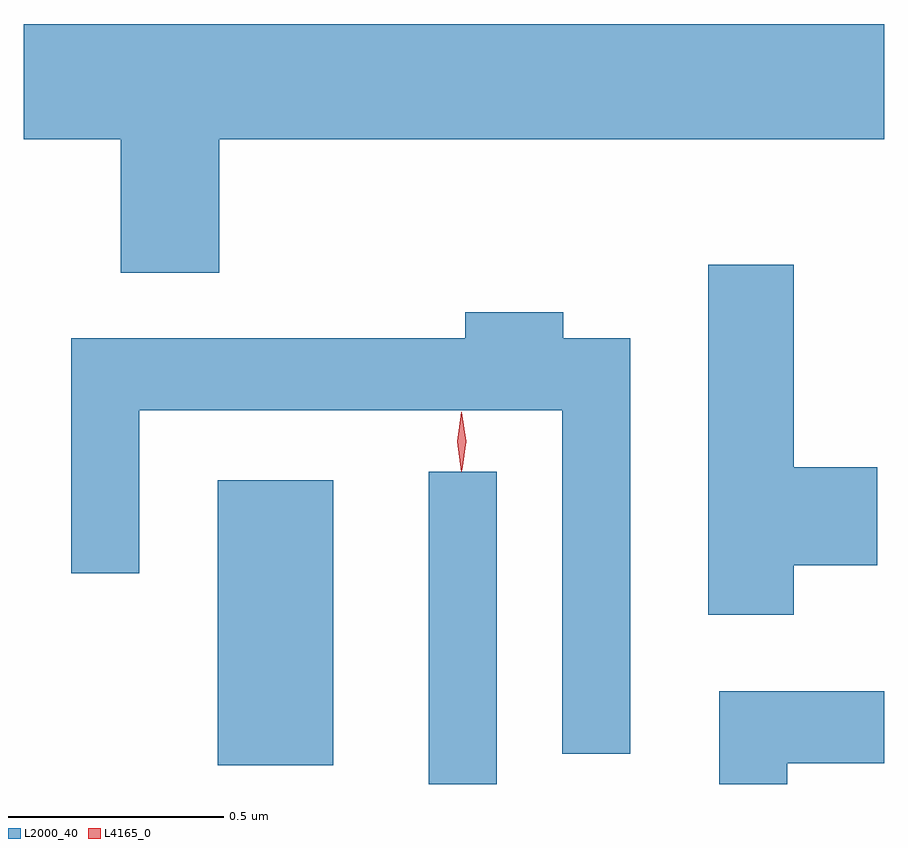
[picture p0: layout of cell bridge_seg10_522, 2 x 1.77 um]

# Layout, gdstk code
import gdstk
lib = gdstk.Library(unit=1e-6, precision=1e-09)
def R(c, l, rs):  # rectangles x0, y0, x1, y1
    for r in rs: c.add(gdstk.rectangle(r[:2], r[2:], *l))
def P(c, l, *ps):  # polygons
    for p in ps: c.add(gdstk.Polygon(p, *l))
L2000_40 = (2000, 40)
L4165_0 = (4165, 0)

bridge_seg10_522 = lib.new_cell('bridge_seg10_522')
R(bridge_seg10_522, L2000_40, [(869.546,2167.918,869.704,2168.643), (869.056,2167.961,869.324,2168.624)])
P(bridge_seg10_522, L2000_40, [(869.059,2169.416),(870.605,2169.416),(870.605,2169.684),(868.605,2169.684),(868.605,2169.416),(868.831,2169.416),(868.831,2169.106),(869.059,2169.106)],
  [(870.394,2168.426),(870.589,2168.426),(870.589,2168.654),(870.394,2168.654),(870.394,2169.124),(870.196,2169.124),(870.196,2168.311),(870.394,2168.311)],
  [(870.014,2168.954),(869.859,2168.954),(869.859,2169.014),(869.631,2169.014),(869.631,2168.954),(868.716,2168.954),(868.716,2168.408),(868.874,2168.408),(868.874,2168.786),(869.856,2168.786),(869.856,2167.988),(870.014,2167.988)],
  [(870.379,2167.966),(870.605,2167.966),(870.605,2168.134),(870.221,2168.134),(870.221,2167.918),(870.379,2167.918)])
P(bridge_seg10_522, L4165_0, [(869.622,2168.644),(869.613,2168.713),(869.622,2168.782),(869.623,2168.783),(869.623,2168.782),(869.633,2168.713),(869.623,2168.644),(869.623,2168.644)],
  [(869.623,2168.647),(869.623,2168.648),(869.613,2168.714),(869.622,2168.78),(869.623,2168.78),(869.623,2168.78),(869.633,2168.714),(869.624,2168.648)])

lib.write_gds('bridge_seg10_522.gds')
